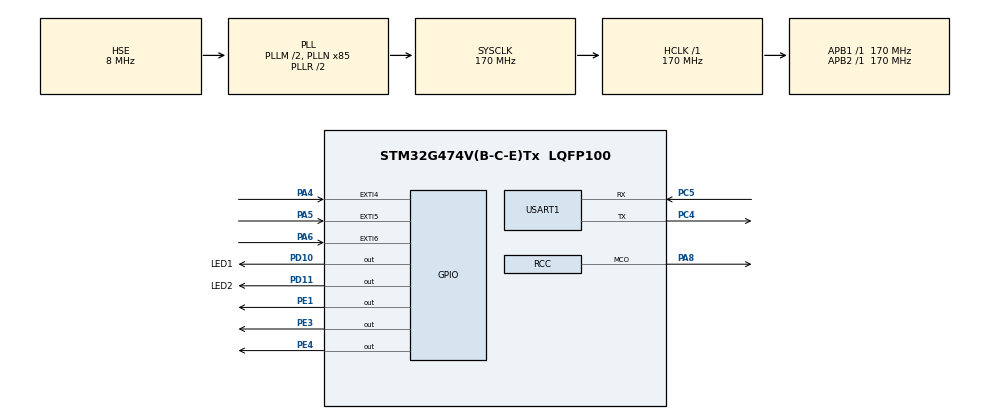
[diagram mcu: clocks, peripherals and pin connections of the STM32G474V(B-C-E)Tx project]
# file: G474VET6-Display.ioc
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Dma.Request0=USART1_RX
Dma.Request1=USART1_TX
Dma.USART1_RX.0.Direction=DMA_PERIPH_TO_MEMORY
Dma.USART1_RX.0.EventEnable=DISABLE
Dma.USART1_RX.0.Instance=DMA1_Channel1
Dma.USART1_RX.0.MemDataAlignment=DMA_MDATAALIGN_BYTE
Dma.USART1_RX.0.MemInc=DMA_MINC_ENABLE
Dma.USART1_RX.0.Mode=DMA_NORMAL
Dma.USART1_RX.0.PeriphDataAlignment=DMA_PDATAALIGN_BYTE
Dma.USART1_RX.0.PeriphInc=DMA_PINC_DISABLE
Dma.USART1_RX.0.Polarity=HAL_DMAMUX_REQ_GEN_RISING
Dma.USART1_RX.0.Priority=DMA_PRIORITY_LOW
Dma.USART1_RX.0.RequestNumber=1
Dma.USART1_RX.0.SignalID=NONE
Dma.USART1_RX.0.SyncEnable=DISABLE
Dma.USART1_RX.0.SyncPolarity=HAL_DMAMUX_SYNC_NO_EVENT
Dma.USART1_RX.0.SyncRequestNumber=1
Dma.USART1_RX.0.SyncSignalID=NONE
Dma.USART1_TX.1.Direction=DMA_MEMORY_TO_PERIPH
Dma.USART1_TX.1.EventEnable=DISABLE
Dma.USART1_TX.1.Instance=DMA1_Channel2
Dma.USART1_TX.1.MemDataAlignment=DMA_MDATAALIGN_BYTE
Dma.USART1_TX.1.MemInc=DMA_MINC_ENABLE
Dma.USART1_TX.1.Mode=DMA_NORMAL
Dma.USART1_TX.1.PeriphDataAlignment=DMA_PDATAALIGN_BYTE
Dma.USART1_TX.1.PeriphInc=DMA_PINC_DISABLE
Dma.USART1_TX.1.Polarity=HAL_DMAMUX_REQ_GEN_RISING
Dma.USART1_TX.1.Priority=DMA_PRIORITY_LOW
Dma.USART1_TX.1.RequestNumber=1
Dma.USART1_TX.1.SignalID=NONE
Dma.USART1_TX.1.SyncEnable=DISABLE
Dma.USART1_TX.1.SyncPolarity=HAL_DMAMUX_SYNC_NO_EVENT
Dma.USART1_TX.1.SyncRequestNumber=1
Dma.USART1_TX.1.SyncSignalID=NONE
Mcu.Family=STM32G4
Mcu.Name=STM32G474V(B-C-E)Tx
Mcu.Package=LQFP100
NVIC.DMA1_Channel1_IRQn=true\:0\:0\:false\:false\:true\:false\:true\:true
NVIC.DMA1_Channel2_IRQn=true\:0\:0\:false\:false\:true\:false\:true\:true
NVIC.EXTI4_IRQn=true\:3\:0\:true\:false\:true\:true\:true\:true
NVIC.EXTI9_5_IRQn=true\:3\:3\:true\:false\:true\:true\:true\:true
NVIC.PriorityGroup=NVIC_PRIORITYGROUP_2
NVIC.USART1_IRQn=true\:0\:0\:false\:false\:true\:true\:true\:true
PA13.Mode=Serial_Wire
PA13.Signal=SYS_JTMS-SWDIO
PA14.Mode=Serial_Wire
PA14.Signal=SYS_JTCK-SWCLK
PA4.GPIO_ModeDefaultEXTI=GPIO_MODE_IT_FALLING
PA4.GPIO_PuPd=GPIO_PULLUP
PA4.Signal=GPXTI4
PA5.GPIO_ModeDefaultEXTI=GPIO_MODE_IT_FALLING
PA5.GPIO_PuPd=GPIO_PULLUP
PA5.Signal=GPXTI5
PA6.GPIO_ModeDefaultEXTI=GPIO_MODE_IT_FALLING
PA6.GPIO_PuPd=GPIO_PULLUP
PA6.Signal=GPXTI6
PA8.GPIO_Speed=GPIO_SPEED_FREQ_VERY_HIGH
PA8.Mode=Clock-out
PA8.Signal=RCC_MCO
PC4.Mode=Asynchronous
PC4.Signal=USART1_TX
PC5.Mode=Asynchronous
PC5.Signal=USART1_RX
PD10.GPIO_Label=LED1
PD10.PinState=GPIO_PIN_SET
PD10.Signal=GPIO_Output
PD11.GPIO_Label=LED2
PD11.PinState=GPIO_PIN_SET
PD11.Signal=GPIO_Output
PE1.Signal=GPIO_Output
PE2.Signal=SPI4_SCK
PE3.Signal=GPIO_Output
PE4.Signal=GPIO_Output
PE5.Signal=SPI4_MISO
PE6.Signal=SPI4_MOSI
PF0-OSC_IN.Mode=HSE-External-Oscillator
PF0-OSC_IN.Signal=RCC_OSC_IN
PF1-OSC_OUT.Mode=HSE-External-Oscillator
PF1-OSC_OUT.Signal=RCC_OSC_OUT
ProjectManager.HeapSize=0x200
ProjectManager.StackSize=0x400
ProjectManager.TargetToolchain=MDK-ARM V5
RCC.ADC12Freq_Value=170000000
RCC.ADC345Freq_Value=170000000
RCC.AHBFreq_Value=170000000
RCC.APB1Freq_Value=170000000
RCC.APB1TimFreq_Value=170000000
RCC.APB2Freq_Value=170000000
RCC.APB2TimFreq_Value=170000000
RCC.CortexFreq_Value=170000000
RCC.EXTERNAL_CLOCK_VALUE=12288000
RCC.HCLKFreq_Value=170000000
RCC.HSE_VALUE=8000000
RCC.HSI48_VALUE=48000000
RCC.HSI_VALUE=16000000
RCC.LSE_VALUE=32768
RCC.PLLM=RCC_PLLM_DIV2
RCC.PLLN=85
RCC.PLLSourceVirtual=RCC_PLLSOURCE_HSE
RCC.SYSCLKFreq_VALUE=170000000
RCC.SYSCLKSource=RCC_SYSCLKSOURCE_PLLCLK
RCC.USBFreq_Value=170000000
RCC.VCOOutputFreq_Value=340000000
USART1.VirtualMode-Asynchronous=VM_ASYNC
VP_SYS_VS_DBSignals.Mode=DisableDeadBatterySignals
board=custom

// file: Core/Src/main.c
/* USER CODE BEGIN Header */
/**
  ******************************************************************************
  * @file           : main.c
  * @brief          : Main program body
  ******************************************************************************
  * @attention
  *
  * Copyright (c) 2024 STMicroelectronics.
  * All rights reserved.
  *
  * This software is licensed under terms that can be found in the LICENSE file
  * in the root directory of this software component.
  * If no LICENSE file comes with this software, it is provided AS-IS.
  *
  ******************************************************************************
  */
/* USER CODE END Header */
#include "main.h"

/* USER CODE BEGIN Includes */
#include "LCD.h"
#include <math.h>
#include "function.h"

#include "stdio.h"
#define LENGTH 19

extern char xwl[], cr[], ym[];
extern int func4_show;
/* USER CODE END Includes */

/* USER CODE BEGIN PD */
// int ifserial = 0;
/* USER CODE END PD */

UART_HandleTypeDef huart1;
DMA_HandleTypeDef hdma_usart1_rx;
DMA_HandleTypeDef hdma_usart1_tx;

void SystemClock_Config(void);
static void MX_GPIO_Init(void);
static void MX_DMA_Init(void);
static void MX_USART1_UART_Init(void);
/* USER CODE BEGIN PFP */
int fputc(int ch, FILE *f){
	/*Rewrite the printf function*/
	uint32_t temp = ch;
	HAL_UART_Transmit(&huart1, (uint8_t *)&temp,1, 1000);
	while(__HAL_UART_GET_FLAG(&huart1, UART_FLAG_TC) != SET);
	return ch;
}

void SW_delay_ms(unsigned int time){
	unsigned int i = 0;
	while(time--){
		i = 170000 * (170 / 60);
		while(i--);
	}
}
/* USER CODE END PFP */

/* USER CODE BEGIN 0 */
uint8_t layer = 0;
uint8_t target = 0;  //  当前layer下的item

uint8_t pattern = 0; // use for function 1 and function 4

uint8_t change = 0;
uint8_t UART_temp;

//uint8_t function;  // function 1 to 4  used by pattern
uint8_t func1_part = 0;  // parttern of func_1
uint8_t func4_part = 3;  // parttern of func_1

int func3_num = 0;  //功能界面3显示的�?�号对应序号�??�e.g. 如果�??1，则显示xwl...
int func4_show = 10;

char k1=1,k2=1,k3=1;  // 按键�?否有�?

uint8_t uart_dma_temp_rx[LENGTH];
uint8_t uart_dma_temp_tx[LENGTH]; //A55A20221071473A5A5 = 4+11+4 = 19 +\n = 20
/* USER CODE END 0 */

int main(void)
{

  /* MCU Configuration--------------------------------------------------------*/

  /* Reset of all peripherals, Initializes the Flash interface and the Systick. */
  HAL_Init();

  /* Configure the system clock */
  SystemClock_Config();

  /* Initialize all configured peripherals */
  MX_GPIO_Init();
  MX_DMA_Init();
  MX_USART1_UART_Init();
  /* USER CODE BEGIN 2 */
	__HAL_UART_ENABLE_IT(&huart1, UART_IT_IDLE);  // Enable serial port idle interrupt
	HAL_UART_Receive_DMA(&huart1, (uint8_t*)uart_dma_temp_rx, LENGTH); //recieve

	LCD_GPIO_Config();
	LCD_Initial();
	Lcd_ColorBox(0, 0, 240, 320, White);
	LCD_PutString(100, 120, "Made by:", Black, White, 0);
	LCD_PutString(100, 140, xwl, Black, White, 0);
	LCD_PutString(100, 160, cr, Black, White, 0);
	LCD_PutString(100, 180, ym, Black, White, 0);

  int num = 0;
	char str_num[2];

	char test_vals[4];
	test_vals[0] = layer + '0';
	test_vals[2] = target + '0';

	test_vals[3] = '\0';
	test_vals[1] = ',';

	LCD_PutString(200, 300, test_vals, Black, White, 1);

	HAL_Delay(1000);
	Lcd_ColorBox(0, 0, 240, 320, White);
  pattern = 1;
	draw_menu(func1_part, target, pattern);
	LCD_PutString(200, 300, test_vals, Black, White, 1);
  // 默�?�进入功能界�?1

  /* USER CODE END 2 */

  /* Infinite loop */
  /* USER CODE BEGIN WHILE */

  while (1)
  {
		/*if(HAL_UART_Receive(&huart1, &UART_temp, 1, 1) == HAL_OK){
			HAL_UART_Transmit(&huart1, &UART_temp, 1,1);
		}
		hole_
		*/
		//printf("capptest");

		int cur_layer = layer;
		int cur_target = target;

		test_vals[0] = layer + '0';
		test_vals[2] = target + '0';
		if (change == 1){
			Lcd_ColorBox(0, 0, 240, 320, White);
			draw_menu(func1_part, target, pattern);

			LCD_PutString(200, 300, test_vals, Black, White, 1);

		}
		change = 0;
		HAL_Delay(100);

    //模式4指示�?改变设置
    if(pattern == 4){
      switch (func4_part){
        case 0:
          /* code */
          HAL_GPIO_WritePin(LED1_GPIO_Port, LED1_Pin, GPIO_PIN_SET);
          HAL_GPIO_WritePin(LED2_GPIO_Port, LED2_Pin, GPIO_PIN_SET);
          break;

        case 1:
          /* code */
          HAL_GPIO_WritePin(LED1_GPIO_Port, LED1_Pin, GPIO_PIN_RESET);
          HAL_GPIO_WritePin(LED2_GPIO_Port, LED2_Pin, GPIO_PIN_SET);
          break;

        case 2:
          /* code */
          HAL_GPIO_WritePin(LED1_GPIO_Port, LED1_Pin, GPIO_PIN_SET);
          HAL_GPIO_WritePin(LED2_GPIO_Port, LED2_Pin, GPIO_PIN_RESET);
          break;

        case 3:
          /* code */
          HAL_GPIO_WritePin(LED1_GPIO_Port, LED1_Pin, GPIO_PIN_RESET);
          HAL_GPIO_WritePin(LED2_GPIO_Port, LED2_Pin, GPIO_PIN_RESET);
          break;

        default:
          break;
      }
    }

	}

    /* USER CODE END WHILE */

}

void SystemClock_Config(void)
{
  RCC_OscInitTypeDef RCC_OscInitStruct = {0};
  RCC_ClkInitTypeDef RCC_ClkInitStruct = {0};

  /** Configure the main internal regulator output voltage
  */
  HAL_PWREx_ControlVoltageScaling(PWR_REGULATOR_VOLTAGE_SCALE1_BOOST);

  /** Initializes the RCC Oscillators according to the specified parameters
  * in the RCC_OscInitTypeDef structure.
  */
  RCC_OscInitStruct.OscillatorType = RCC_OSCILLATORTYPE_HSI|RCC_OSCILLATORTYPE_HSE;
  RCC_OscInitStruct.HSEState = RCC_HSE_ON;
  RCC_OscInitStruct.HSIState = RCC_HSI_ON;
  RCC_OscInitStruct.HSICalibrationValue = RCC_HSICALIBRATION_DEFAULT;
  RCC_OscInitStruct.PLL.PLLState = RCC_PLL_ON;
  RCC_OscInitStruct.PLL.PLLSource = RCC_PLLSOURCE_HSE;
  RCC_OscInitStruct.PLL.PLLM = RCC_PLLM_DIV2;
  RCC_OscInitStruct.PLL.PLLN = 85;
  RCC_OscInitStruct.PLL.PLLP = RCC_PLLP_DIV2;
  RCC_OscInitStruct.PLL.PLLQ = RCC_PLLQ_DIV2;
  RCC_OscInitStruct.PLL.PLLR = RCC_PLLR_DIV2;
  if (HAL_RCC_OscConfig(&RCC_OscInitStruct) != HAL_OK)
  {
    Error_Handler();
  }

  /** Initializes the CPU, AHB and APB buses clocks
  */
  RCC_ClkInitStruct.ClockType = RCC_CLOCKTYPE_HCLK|RCC_CLOCKTYPE_SYSCLK
                              |RCC_CLOCKTYPE_PCLK1|RCC_CLOCKTYPE_PCLK2;
  RCC_ClkInitStruct.SYSCLKSource = RCC_SYSCLKSOURCE_PLLCLK;
  RCC_ClkInitStruct.AHBCLKDivider = RCC_SYSCLK_DIV1;
  RCC_ClkInitStruct.APB1CLKDivider = RCC_HCLK_DIV1;
  RCC_ClkInitStruct.APB2CLKDivider = RCC_HCLK_DIV1;

  if (HAL_RCC_ClockConfig(&RCC_ClkInitStruct, FLASH_LATENCY_4) != HAL_OK)
  {
    Error_Handler();
  }
  HAL_RCC_MCOConfig(RCC_MCO1, RCC_MCO1SOURCE_HSI, RCC_MCODIV_1);
}

static void MX_USART1_UART_Init(void)
{

  huart1.Instance = USART1;
  huart1.Init.BaudRate = 115200;
  huart1.Init.WordLength = UART_WORDLENGTH_8B;
  huart1.Init.StopBits = UART_STOPBITS_1;
  huart1.Init.Parity = UART_PARITY_NONE;
  huart1.Init.Mode = UART_MODE_TX_RX;
  huart1.Init.HwFlowCtl = UART_HWCONTROL_NONE;
  huart1.Init.OverSampling = UART_OVERSAMPLING_16;
  huart1.Init.OneBitSampling = UART_ONE_BIT_SAMPLE_DISABLE;
  huart1.Init.ClockPrescaler = UART_PRESCALER_DIV1;
  huart1.AdvancedInit.AdvFeatureInit = UART_ADVFEATURE_NO_INIT;
  if (HAL_UART_Init(&huart1) != HAL_OK)
  {
    Error_Handler();
  }
  if (HAL_UARTEx_SetTxFifoThreshold(&huart1, UART_TXFIFO_THRESHOLD_1_8) != HAL_OK)
  {
    Error_Handler();
  }
  if (HAL_UARTEx_SetRxFifoThreshold(&huart1, UART_RXFIFO_THRESHOLD_1_8) != HAL_OK)
  {
    Error_Handler();
  }
  if (HAL_UARTEx_DisableFifoMode(&huart1) != HAL_OK)
  {
    Error_Handler();
  }

}

static void MX_DMA_Init(void)
{

  /* DMA controller clock enable */
  __HAL_RCC_DMAMUX1_CLK_ENABLE();
  __HAL_RCC_DMA1_CLK_ENABLE();

  /* DMA interrupt init */
  /* DMA1_Channel1_IRQn interrupt configuration */
  HAL_NVIC_SetPriority(DMA1_Channel1_IRQn, 0, 0);
  HAL_NVIC_EnableIRQ(DMA1_Channel1_IRQn);
  /* DMA1_Channel2_IRQn interrupt configuration */
  HAL_NVIC_SetPriority(DMA1_Channel2_IRQn, 0, 0);
  HAL_NVIC_EnableIRQ(DMA1_Channel2_IRQn);

}

static void MX_GPIO_Init(void)
{
  GPIO_InitTypeDef GPIO_InitStruct = {0};

  /* GPIO Ports Clock Enable */
  __HAL_RCC_GPIOE_CLK_ENABLE();
  __HAL_RCC_GPIOF_CLK_ENABLE();
  __HAL_RCC_GPIOA_CLK_ENABLE();
  __HAL_RCC_GPIOC_CLK_ENABLE();
  __HAL_RCC_GPIOD_CLK_ENABLE();

  /*Configure GPIO pin Output Level */
  HAL_GPIO_WritePin(GPIOE, GPIO_PIN_3|GPIO_PIN_4|GPIO_PIN_1, GPIO_PIN_RESET);

  /*Configure GPIO pin Output Level */
  HAL_GPIO_WritePin(GPIOD, LED1_Pin|LED2_Pin, GPIO_PIN_SET);

  /*Configure GPIO pins : PE2 PE5 PE6 */
  GPIO_InitStruct.Pin = GPIO_PIN_2|GPIO_PIN_5|GPIO_PIN_6;
  GPIO_InitStruct.Mode = GPIO_MODE_AF_PP;
  GPIO_InitStruct.Pull = GPIO_NOPULL;
  GPIO_InitStruct.Speed = GPIO_SPEED_FREQ_LOW;
  GPIO_InitStruct.Alternate = GPIO_AF5_SPI4;
  HAL_GPIO_Init(GPIOE, &GPIO_InitStruct);

  /*Configure GPIO pins : PE3 PE4 PE1 */
  GPIO_InitStruct.Pin = GPIO_PIN_3|GPIO_PIN_4|GPIO_PIN_1;
  GPIO_InitStruct.Mode = GPIO_MODE_OUTPUT_PP;
  GPIO_InitStruct.Pull = GPIO_NOPULL;
  GPIO_InitStruct.Speed = GPIO_SPEED_FREQ_LOW;
  HAL_GPIO_Init(GPIOE, &GPIO_InitStruct);

  /*Configure GPIO pins : PA4 PA5 PA6 */
  GPIO_InitStruct.Pin = GPIO_PIN_4|GPIO_PIN_5|GPIO_PIN_6;
  GPIO_InitStruct.Mode = GPIO_MODE_IT_FALLING;
  GPIO_InitStruct.Pull = GPIO_PULLUP;
  HAL_GPIO_Init(GPIOA, &GPIO_InitStruct);

  /*Configure GPIO pins : LED1_Pin LED2_Pin */
  GPIO_InitStruct.Pin = LED1_Pin|LED2_Pin;
  GPIO_InitStruct.Mode = GPIO_MODE_OUTPUT_PP;
  GPIO_InitStruct.Pull = GPIO_NOPULL;
  GPIO_InitStruct.Speed = GPIO_SPEED_FREQ_LOW;
  HAL_GPIO_Init(GPIOD, &GPIO_InitStruct);

  /*Configure GPIO pin : PA8 */
  GPIO_InitStruct.Pin = GPIO_PIN_8;
  GPIO_InitStruct.Mode = GPIO_MODE_AF_PP;
  GPIO_InitStruct.Pull = GPIO_NOPULL;
  GPIO_InitStruct.Speed = GPIO_SPEED_FREQ_VERY_HIGH;
  GPIO_InitStruct.Alternate = GPIO_AF0_MCO;
  HAL_GPIO_Init(GPIOA, &GPIO_InitStruct);

  /* EXTI interrupt init*/
  HAL_NVIC_SetPriority(EXTI4_IRQn, 3, 0);
  HAL_NVIC_EnableIRQ(EXTI4_IRQn);

  HAL_NVIC_SetPriority(EXTI9_5_IRQn, 3, 3);
  HAL_NVIC_EnableIRQ(EXTI9_5_IRQn);

}

/* USER CODE BEGIN 4 */
void HAL_GPIO_EXTI_Callback(uint16_t GPIO_Pin)
{
	if (GPIO_Pin == GPIO_PIN_4) // KEY1
	{
		HAL_Delay(5);
		for(uint16_t i=0;i<10000;i++) __NOP();
    if(!HAL_GPIO_ReadPin(GPIOA, GPIO_PIN_4)){
      if (!k1){
        return;
      }

      if(pattern == 1){
        func1_part = ((func1_part + 1) > 3) ? 0 : (func1_part + 1);
        change = 1;
      }
			while (!HAL_GPIO_ReadPin(GPIOA, GPIO_PIN_4));
		}
	}
	else if (GPIO_Pin == GPIO_PIN_5) // KEY2
	{
		HAL_Delay(5);
		for(uint16_t i=0;i<10000;i++) __NOP();
    if(!HAL_GPIO_ReadPin(GPIOA, GPIO_PIN_5)){
      if (!k2){
        return;
      }
      if(pattern == 1){
        pattern = 2;
        change = 1;
        func1_part = 0;
      }

			while (!HAL_GPIO_ReadPin(GPIOA, GPIO_PIN_5));
		}
	}
	else if (GPIO_Pin == GPIO_PIN_6) // KEY3
	{
    func4_show = 10;
		HAL_Delay(5);
		for(uint16_t i=0;i<10000;i++) __NOP();
    if(!HAL_GPIO_ReadPin(GPIOA, GPIO_PIN_6)){
      if (!k3){
        return;
      }
      if(pattern != 4){
        pattern = 4;
        change = 1;
      }
      if(pattern == 4){
        func4_part = ((func4_part + 1) > 3) ? 0 : (func4_part + 1);
        change = 1;
      }
			while (!HAL_GPIO_ReadPin(GPIOA, GPIO_PIN_6));
		}
	}
}

void HAL_UART_RxCpltCallback(UART_HandleTypeDef *huart)
{
	if(huart == &huart1)
	{
		HAL_UART_Transmit(&huart1, &UART_temp, 1, 1);
		HAL_UART_Receive_IT(&huart1, &UART_temp, 1);
	}
}

/* USER CODE END 4 */

void Error_Handler(void)
{
  __disable_irq();
  while (1)
  {
  }
}
